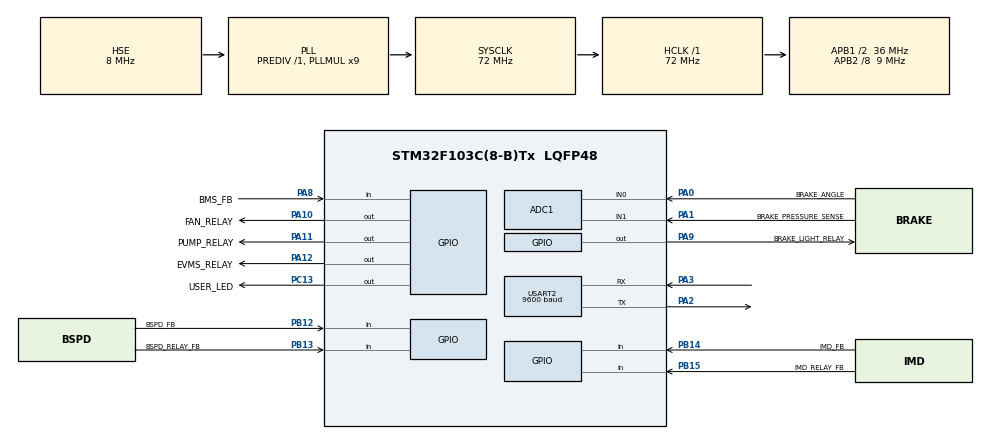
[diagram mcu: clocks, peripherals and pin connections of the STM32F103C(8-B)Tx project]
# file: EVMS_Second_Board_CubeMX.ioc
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ADC1.Channel-0\#ChannelRegularConversion=ADC_CHANNEL_0
ADC1.Channel-1\#ChannelRegularConversion=ADC_CHANNEL_0
ADC1.ContinuousConvMode=ENABLE
ADC1.NbrOfConversion=2
ADC1.NbrOfConversionFlag=1
ADC1.Rank-0\#ChannelRegularConversion=1
ADC1.Rank-1\#ChannelRegularConversion=2
ADC1.SamplingTime-0\#ChannelRegularConversion=ADC_SAMPLETIME_71CYCLES_5
ADC1.SamplingTime-1\#ChannelRegularConversion=ADC_SAMPLETIME_71CYCLES_5
ADC1.master=1
Mcu.Family=STM32F1
Mcu.Name=STM32F103C(8-B)Tx
Mcu.Package=LQFP48
NVIC.PriorityGroup=NVIC_PRIORITYGROUP_4
PA0-WKUP.GPIO_Label=BRAKE_ANGLE
PA0-WKUP.Signal=ADCx_IN0
PA1.GPIO_Label=BRAKE_PRESSURE_SENSE
PA1.Signal=ADCx_IN1
PA10.GPIO_Label=FAN_RELAY
PA10.Signal=GPIO_Output
PA11.GPIO_Label=PUMP_RELAY
PA11.Signal=GPIO_Output
PA12.GPIO_Label=EVMS_RELAY
PA12.Signal=GPIO_Output
PA2.Mode=Asynchronous
PA2.Signal=USART2_TX
PA3.Mode=Asynchronous
PA3.Signal=USART2_RX
PA8.GPIO_Label=BMS_FB
PA8.Signal=GPIO_Input
PA9.GPIO_Label=BRAKE_LIGHT_RELAY
PA9.Signal=GPIO_Output
PB12.GPIO_Label=BSPD_FB
PB12.Signal=GPIO_Input
PB13.GPIO_Label=BSPD_RELAY_FB
PB13.Signal=GPIO_Input
PB14.GPIO_Label=IMD_FB
PB14.Signal=GPIO_Input
PB15.GPIO_Label=IMD_RELAY_FB
PB15.Signal=GPIO_Input
PB8.Signal=CAN_RX
PB9.Signal=CAN_TX
PC13-TAMPER-RTC.GPIO_Label=USER_LED
PC13-TAMPER-RTC.Signal=GPIO_Output
PD0-OSC_IN.Mode=HSE-External-Oscillator
PD0-OSC_IN.Signal=RCC_OSC_IN
PD1-OSC_OUT.Mode=HSE-External-Oscillator
PD1-OSC_OUT.Signal=RCC_OSC_OUT
ProjectManager.HeapSize=0x200
ProjectManager.StackSize=0x400
ProjectManager.TargetToolchain=STM32CubeIDE
RCC.ADCPresc=RCC_ADCPCLK2_DIV8
RCC.AHBFreq_Value=72000000
RCC.APB1CLKDivider=RCC_HCLK_DIV2
RCC.APB1Freq_Value=36000000
RCC.APB1TimFreq_Value=72000000
RCC.APB2CLKDivider=RCC_HCLK_DIV8
RCC.APB2Freq_Value=9000000
RCC.APB2TimFreq_Value=18000000
RCC.HCLKFreq_Value=72000000
RCC.PLLMUL=RCC_PLL_MUL9
RCC.PLLSourceVirtual=RCC_PLLSOURCE_HSE
RCC.SYSCLKFreq_VALUE=72000000
RCC.SYSCLKSource=RCC_SYSCLKSOURCE_PLLCLK
RCC.USBFreq_Value=72000000
SH.ADCx_IN0.0=ADC1_IN0,IN0
SH.ADCx_IN1.0=ADC1_IN1,IN1
USART2.BaudRate=9600
USART2.VirtualMode=VM_ASYNC
board=custom

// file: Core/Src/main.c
/* USER CODE BEGIN Header */
/**
 ******************************************************************************
 * @file           : main.c
 * @brief          : Main program body
 ******************************************************************************
 * @attention
 *
 * Copyright (c) 2023 STMicroelectronics.
 * All rights reserved.
 *
 * This software is licensed under terms that can be found in the LICENSE file
 * in the root directory of this software component.
 * If no LICENSE file comes with this software, it is provided AS-IS.
 *
 ******************************************************************************
 */
/* USER CODE END Header */
#include "main.h"

/* USER CODE BEGIN Includes */
#include "EVMS2.h"
#include "../BluePill Drivers/CURT_CAN/CURT_CAN_headers/CAN_interface.h"
/* USER CODE END Includes */

ADC_HandleTypeDef hadc1;

UART_HandleTypeDef huart2;

/* USER CODE BEGIN PV */
u8 can_rx_data[8] = { 0 };
u8 can_rx_len = 0; /* Should be 8 bytes */
u32 can_rx_id = 0; /* Should be 0x6AC */
/* USER CODE END PV */

void SystemClock_Config(void);
static void MX_GPIO_Init(void);
static void MX_ADC1_Init(void);
static void MX_USART2_UART_Init(void);
/* USER CODE BEGIN PFP */
void CAN_InitPeriph(void);
/* USER CODE END PFP */

int main(void) {

	/* MCU Configuration--------------------------------------------------------*/

	/* Reset of all peripherals, Initializes the Flash interface and the Systick. */
	HAL_Init();

	/* Configure the system clock */
	SystemClock_Config();

	/* Initialize all configured peripherals */
	MX_GPIO_Init();
	MX_ADC1_Init();
	MX_USART2_UART_Init();

	/* Infinite loop */
	/* USER CODE BEGIN WHILE */
	CAN_InitPeriph();
	HAL_ADCEx_Calibration_Start(&hadc1);
	// Start ADC Conversion
	HAL_ADC_Start(&hadc1);

	HAL_GPIO_WritePin(USER_LED_GPIO_Port, USER_LED_Pin, GPIO_PIN_SET);
	HAL_GPIO_WritePin(BRAKE_LIGHT_RELAY_GPIO_Port, BRAKE_LIGHT_RELAY_Pin,
			GPIO_PIN_SET);
	while (1) {
		EVMS2_init();
		LOGIC_voidControlBrakeLight();
		LOGIC_uint8CheckBMS();
		LOGIC_uint8CheckIMD();
		LOGIC_uint8CheckBSPD();
		LOGIC_voidControlPump();

		if (CAN_receiveMessage(can_rx_data, &can_rx_len, &can_rx_id)
				== CAN_Status_OK) {
			HAL_UART_Transmit(&huart2, can_rx_data, can_rx_len, 20);
			HAL_GPIO_TogglePin(USER_LED_GPIO_Port, USER_LED_Pin);
			HAL_Delay(100);
			HAL_GPIO_TogglePin(USER_LED_GPIO_Port, USER_LED_Pin);
		}

		if (isError() == ERROR) {
			Error_Action();
		} else {
			// No action
		}
		/* USER CODE END WHILE */

	}
}

void SystemClock_Config(void) {
	RCC_OscInitTypeDef RCC_OscInitStruct = { 0 };
	RCC_ClkInitTypeDef RCC_ClkInitStruct = { 0 };
	RCC_PeriphCLKInitTypeDef PeriphClkInit = { 0 };

	/** Initializes the RCC Oscillators according to the specified parameters
	 * in the RCC_OscInitTypeDef structure.
	 */
	RCC_OscInitStruct.OscillatorType = RCC_OSCILLATORTYPE_HSE;
	RCC_OscInitStruct.HSEState = RCC_HSE_ON;
	RCC_OscInitStruct.HSEPredivValue = RCC_HSE_PREDIV_DIV1;
	RCC_OscInitStruct.HSIState = RCC_HSI_ON;
	RCC_OscInitStruct.PLL.PLLState = RCC_PLL_ON;
	RCC_OscInitStruct.PLL.PLLSource = RCC_PLLSOURCE_HSE;
	RCC_OscInitStruct.PLL.PLLMUL = RCC_PLL_MUL9;
	if (HAL_RCC_OscConfig(&RCC_OscInitStruct) != HAL_OK) {
		Error_Handler();
	}

	/** Initializes the CPU, AHB and APB buses clocks
	 */
	RCC_ClkInitStruct.ClockType = RCC_CLOCKTYPE_HCLK | RCC_CLOCKTYPE_SYSCLK
			| RCC_CLOCKTYPE_PCLK1 | RCC_CLOCKTYPE_PCLK2;
	RCC_ClkInitStruct.SYSCLKSource = RCC_SYSCLKSOURCE_PLLCLK;
	RCC_ClkInitStruct.AHBCLKDivider = RCC_SYSCLK_DIV1;
	RCC_ClkInitStruct.APB1CLKDivider = RCC_HCLK_DIV2;
	RCC_ClkInitStruct.APB2CLKDivider = RCC_HCLK_DIV8;

	if (HAL_RCC_ClockConfig(&RCC_ClkInitStruct, FLASH_LATENCY_2) != HAL_OK) {
		Error_Handler();
	}
	PeriphClkInit.PeriphClockSelection = RCC_PERIPHCLK_ADC;
	PeriphClkInit.AdcClockSelection = RCC_ADCPCLK2_DIV8;
	if (HAL_RCCEx_PeriphCLKConfig(&PeriphClkInit) != HAL_OK) {
		Error_Handler();
	}
}

static void MX_ADC1_Init(void) {

	ADC_ChannelConfTypeDef sConfig = { 0 };

	/** Common config
	 */
	hadc1.Instance = ADC1;
	hadc1.Init.ScanConvMode = ADC_SCAN_ENABLE;
	hadc1.Init.ContinuousConvMode = ENABLE;
	hadc1.Init.DiscontinuousConvMode = DISABLE;
	hadc1.Init.ExternalTrigConv = ADC_SOFTWARE_START;
	hadc1.Init.DataAlign = ADC_DATAALIGN_RIGHT;
	hadc1.Init.NbrOfConversion = 2;
	if (HAL_ADC_Init(&hadc1) != HAL_OK) {
		Error_Handler();
	}

	/** Configure Regular Channel
	 */
	sConfig.Channel = ADC_CHANNEL_0;
	sConfig.Rank = ADC_REGULAR_RANK_1;
	sConfig.SamplingTime = ADC_SAMPLETIME_71CYCLES_5;
	if (HAL_ADC_ConfigChannel(&hadc1, &sConfig) != HAL_OK) {
		Error_Handler();
	}

	/** Configure Regular Channel
	 */
	sConfig.Rank = ADC_REGULAR_RANK_2;
	if (HAL_ADC_ConfigChannel(&hadc1, &sConfig) != HAL_OK) {
		Error_Handler();
	}

}

static void MX_USART2_UART_Init(void) {

	huart2.Instance = USART2;
	huart2.Init.BaudRate = 9600;
	huart2.Init.WordLength = UART_WORDLENGTH_8B;
	huart2.Init.StopBits = UART_STOPBITS_1;
	huart2.Init.Parity = UART_PARITY_NONE;
	huart2.Init.Mode = UART_MODE_TX_RX;
	huart2.Init.HwFlowCtl = UART_HWCONTROL_NONE;
	huart2.Init.OverSampling = UART_OVERSAMPLING_16;
	if (HAL_UART_Init(&huart2) != HAL_OK) {
		Error_Handler();
	}

}

static void MX_GPIO_Init(void) {
	GPIO_InitTypeDef GPIO_InitStruct = { 0 };

	/* GPIO Ports Clock Enable */
	__HAL_RCC_GPIOC_CLK_ENABLE();
	__HAL_RCC_GPIOD_CLK_ENABLE();
	__HAL_RCC_GPIOA_CLK_ENABLE();
	__HAL_RCC_GPIOB_CLK_ENABLE();

	/*Configure GPIO pin Output Level */
	HAL_GPIO_WritePin(USER_LED_GPIO_Port, USER_LED_Pin, GPIO_PIN_RESET);

	/*Configure GPIO pin Output Level */
	HAL_GPIO_WritePin(GPIOA,
	BRAKE_LIGHT_RELAY_Pin | FAN_RELAY_Pin | PUMP_RELAY_Pin | EVMS_RELAY_Pin,
			GPIO_PIN_RESET);

	/*Configure GPIO pin : USER_LED_Pin */
	GPIO_InitStruct.Pin = USER_LED_Pin;
	GPIO_InitStruct.Mode = GPIO_MODE_OUTPUT_PP;
	GPIO_InitStruct.Pull = GPIO_NOPULL;
	GPIO_InitStruct.Speed = GPIO_SPEED_FREQ_LOW;
	HAL_GPIO_Init(USER_LED_GPIO_Port, &GPIO_InitStruct);

	/*Configure GPIO pins : BSPD_FB_Pin BSPD_RELAY_FB_Pin IMD_FB_Pin IMD_RELAY_FB_Pin */
	GPIO_InitStruct.Pin = BSPD_FB_Pin | BSPD_RELAY_FB_Pin | IMD_FB_Pin
			| IMD_RELAY_FB_Pin;
	GPIO_InitStruct.Mode = GPIO_MODE_INPUT;
	GPIO_InitStruct.Pull = GPIO_NOPULL;
	HAL_GPIO_Init(GPIOB, &GPIO_InitStruct);

	/*Configure GPIO pin : BMS_FB_Pin */
	GPIO_InitStruct.Pin = BMS_FB_Pin;
	GPIO_InitStruct.Mode = GPIO_MODE_INPUT;
	GPIO_InitStruct.Pull = GPIO_NOPULL;
	HAL_GPIO_Init(BMS_FB_GPIO_Port, &GPIO_InitStruct);

	/*Configure GPIO pins : BRAKE_LIGHT_RELAY_Pin FAN_RELAY_Pin PUMP_RELAY_Pin EVMS_RELAY_Pin */
	GPIO_InitStruct.Pin = BRAKE_LIGHT_RELAY_Pin | FAN_RELAY_Pin | PUMP_RELAY_Pin
			| EVMS_RELAY_Pin;
	GPIO_InitStruct.Mode = GPIO_MODE_OUTPUT_PP;
	GPIO_InitStruct.Pull = GPIO_NOPULL;
	GPIO_InitStruct.Speed = GPIO_SPEED_FREQ_LOW;
	HAL_GPIO_Init(GPIOA, &GPIO_InitStruct);

	/*Configure GPIO pin : PB8 */
	GPIO_InitStruct.Pin = GPIO_PIN_8;
	GPIO_InitStruct.Mode = GPIO_MODE_INPUT;
	GPIO_InitStruct.Pull = GPIO_NOPULL;
	HAL_GPIO_Init(GPIOB, &GPIO_InitStruct);

	/*Configure GPIO pin : PB9 */
	GPIO_InitStruct.Pin = GPIO_PIN_9;
	GPIO_InitStruct.Mode = GPIO_MODE_AF_PP;
	GPIO_InitStruct.Speed = GPIO_SPEED_FREQ_HIGH;
	HAL_GPIO_Init(GPIOB, &GPIO_InitStruct);

	/*Configure peripheral I/O remapping */
	__HAL_AFIO_REMAP_CAN1_2();

}

/* USER CODE BEGIN 4 */
void CAN_InitPeriph(void) {
	CAN_init(CAN1, CAN_CONFIG_1);
	/* Filter on BMS frame only with ID = 0x6AC*/
	CAN_appendDeviceToBus(0x6AC, CAN_STANDARD_IDENTIFIER);
	CAN_setSlaveStartBank(14);
	CAN_setMode(CAN1, CAN_Mode_Normal);
}
/* USER CODE END 4 */

void Error_Handler(void) {
	__disable_irq();
	while (1) {
	}
}
